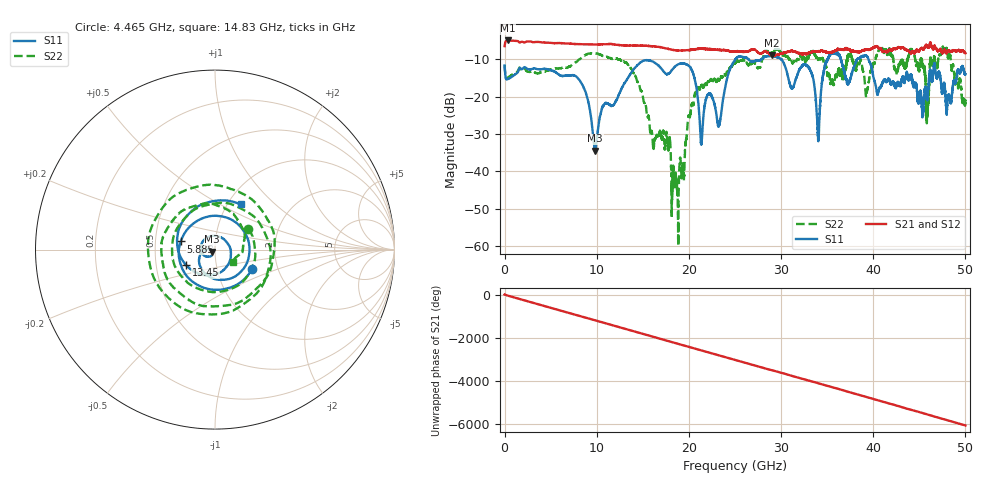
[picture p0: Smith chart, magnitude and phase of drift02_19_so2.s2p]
!Created with skrf (http://scikit-rf.org).
# Hz S RI R 50.0
!freq ReS11 ImS11 ReS21 ImS21 ReS12 ImS12 ReS22 ImS22
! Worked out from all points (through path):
!   10001 points, 300 kHz to 50 GHz, reference 50 ohm
!   highest |S21| = -5.04 dB at 325.3 MHz (marker M1); lowest = -9.0 dB at 29.05 GHz (marker M2)
!   group delay of S21, straight-line fit = 336 ps
!   lowest |S11| = -34.5 dB at 9.84 GHz (marker M3), VSWR 1.04, Z = 48.5 - j1.04 ohm
!   |S11| at or under -10 dB: start of sweep to 25.07 GHz; 29.96 GHz to 35.07 GHz (5.102 GHz wide, 15.7 % of centre); 39.47 GHz to end of sweep (the widest 3 of 7)
!   |S22| runs from -60.0 to -6.7 dB; largest |S21 - S12| = 0.025
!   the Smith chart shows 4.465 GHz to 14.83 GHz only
!   S11 on the Smith chart (normalised r, x): 4.465 GHz: 1.47, -0.34; 5.885 GHz: 0.68, +0.06; 13.45 GHz: 0.71, -0.13; 14.83 GHz: 1.15, +0.63
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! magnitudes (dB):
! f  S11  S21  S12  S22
! 300 kHz  -11.7  -6.6  -6.5  -11.6
! 325.3 MHz  -15.4  -5.0  -5.0  -15.0
! 4.465 GHz  -12.6  -5.6  -5.6  -13.2
! 5.885 GHz  -14.1  -5.7  -5.7  -12.5
! 8.335 GHz  -16.4  -6.0  -6.0  -9.6
! 9.84 GHz  -34.5  -6.1  -6.1  -8.5
! 13.45 GHz  -14.8  -6.4  -6.4  -11.6
! 14.83 GHz  -10.8  -6.4  -6.4  -18.5
! 16.67 GHz  -11.7  -6.7  -6.7  -30.6
! 18.67 GHz  -11.7  -7.7  -7.7  -42.3
! 20.37 GHz  -13.3  -7.5  -7.5  -21.8
! 21.37 GHz  -32.6  -7.3  -7.3  -17.1
! 23.3 GHz  -27.5  -7.5  -7.6  -15.6
! 25 GHz  -10.3  -8.0  -8.0  -11.1
! 29.05 GHz  -9.1  -9.0  -9.0  -8.3
! 33.34 GHz  -14.0  -8.1  -8.2  -8.1
! 34.02 GHz  -31.7  -7.9  -8.0  -10.2
! 35.52 GHz  -8.5  -8.2  -8.1  -15.7
! 41.67 GHz  -15.3  -7.7  -7.8  -7.7
! 45.86 GHz  -21.1  -6.7  -6.8  -21.1
! 47.76 GHz  -17.3  -7.5  -7.5  -7.2
! 50 GHz  -14.1  -8.5  -8.5  -21.2
